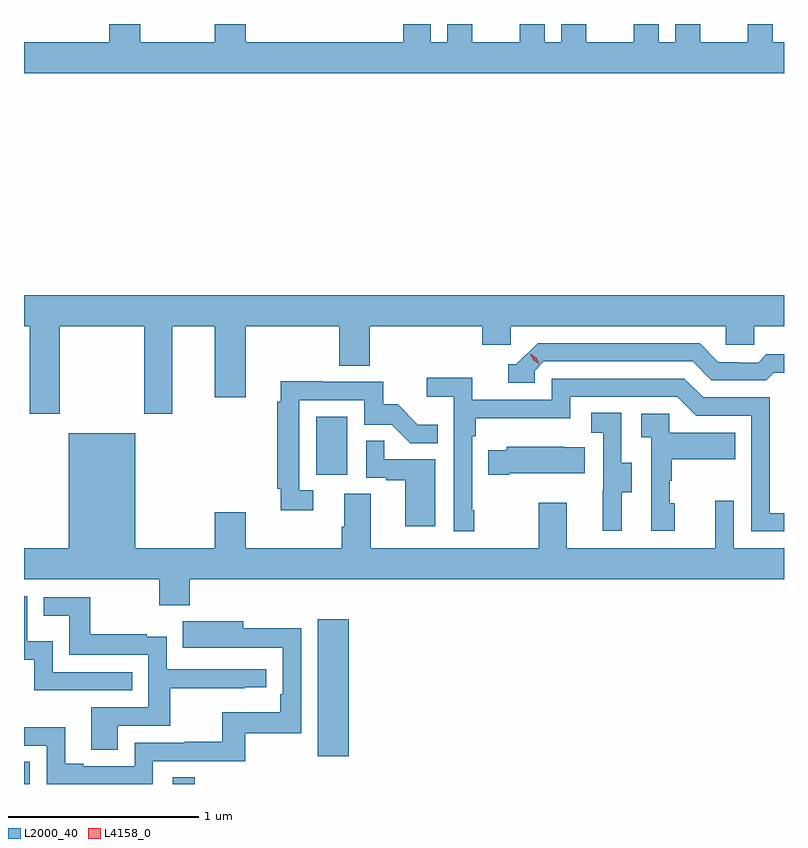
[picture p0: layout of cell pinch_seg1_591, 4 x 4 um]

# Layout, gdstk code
import gdstk
lib = gdstk.Library(unit=1e-6, precision=1e-09)
def R(c, l, rs):  # rectangles x0, y0, x1, y1
    for r in rs: c.add(gdstk.rectangle(r[:2], r[2:], *l))
def P(c, l, *ps):  # polygons
    for p in ps: c.add(gdstk.Polygon(p, *l))
L2000_40 = (2000, 40)
L4158_0 = (4158, 0)

pinch_seg1_591 = lib.new_cell('pinch_seg1_591')
R(pinch_seg1_591, L2000_40, [(1039.128,509.363,1039.159,509.48), (1039.911,509.363,1040.027,509.399), (1040.675,509.508,1040.836,510.229), (1040.666,510.99,1040.83,511.297)])
P(pinch_seg1_591, L2000_40, [(1041.956,513.363),(1041.956,513.268),(1041.868,513.268),(1041.868,513.363),(1041.737,513.363),(1041.737,513.268),(1041.487,513.268),(1041.487,513.363),(1041.356,513.363),(1041.356,513.268),(1041.268,513.268),(1041.268,513.363),(1041.125,513.363),(1041.125,513.268),(1040.296,513.268),(1040.296,513.363),(1040.132,513.363),(1040.132,513.268),(1039.741,513.268),(1039.741,513.363),(1039.577,513.363),(1039.577,513.268),(1039.128,513.268),(1039.128,513.104),(1043.128,513.104),(1043.128,513.268),(1043.068,513.268),(1043.068,513.363),(1042.937,513.363),(1042.937,513.268),(1042.687,513.268),(1042.687,513.363),(1042.556,513.363),(1042.556,513.268),(1042.468,513.268),(1042.468,513.363),(1042.337,513.363),(1042.337,513.268),(1042.087,513.268),(1042.087,513.363)],
  [(1039.317,511.772),(1039.762,511.772),(1039.762,511.311),(1039.909,511.311),(1039.909,511.772),(1040.132,511.772),(1040.132,511.398),(1040.296,511.398),(1040.296,511.772),(1040.788,511.772),(1040.788,511.564),(1040.948,511.564),(1040.948,511.772),(1041.539,511.772),(1041.539,511.674),(1041.69,511.674),(1041.69,511.772),(1042.821,511.772),(1042.821,511.674),(1042.971,511.674),(1042.971,511.772),(1043.128,511.772),(1043.128,511.936),(1039.128,511.936),(1039.128,511.772),(1039.157,511.772),(1039.157,511.311),(1039.317,511.311)],
  [(1041.816,511.539),(1041.864,511.587),(1042.647,511.587),(1042.746,511.488),(1043.035,511.488),(1043.074,511.527),(1043.128,511.527),(1043.128,511.624),(1043.035,511.624),(1042.993,511.581),(1042.89,511.581),(1042.89,511.584),(1042.783,511.584),(1042.684,511.683),(1041.831,511.683),(1041.72,511.572),(1041.677,511.572),(1041.677,511.476),(1041.816,511.476)],
  [(1041.499,510.805),(1041.486,510.805),(1041.486,511.193),(1041.506,511.193),(1041.506,511.289),(1042.002,511.289),(1042.002,511.401),(1042.566,511.401),(1042.665,511.302),(1042.956,511.302),(1042.956,510.693),(1043.128,510.693),(1043.128,510.789),(1043.052,510.789),(1043.052,511.398),(1042.702,511.398),(1042.603,511.497),(1041.906,511.497),(1041.906,511.386),(1041.488,511.386),(1041.488,511.502),(1041.249,511.502),(1041.249,511.4),(1041.39,511.4),(1041.39,510.693),(1041.499,510.693)],
  [(1040.65,510.909),(1040.577,510.909),(1040.577,511.383),(1040.919,511.383),(1040.919,511.254),(1041.063,511.254),(1041.161,511.156),(1041.305,511.156),(1041.305,511.255),(1041.201,511.255),(1041.094,511.362),(1041.018,511.362),(1041.018,511.479),(1040.699,511.479),(1040.699,511.484),(1040.48,511.484),(1040.48,511.376),(1040.461,511.376),(1040.461,510.916),(1040.48,510.916),(1040.48,510.804),(1040.65,510.804)],
  [(1042.273,510.898),(1042.327,510.898),(1042.327,511.053),(1042.272,511.053),(1042.272,511.316),(1042.113,511.316),(1042.113,511.213),(1042.176,511.213),(1042.176,510.909),(1042.175,510.909),(1042.175,510.696),(1042.273,510.696)],
  [(1042.552,510.84),(1042.527,510.84),(1042.527,510.959),(1042.537,510.959),(1042.537,511.073),(1042.871,511.073),(1042.871,511.213),(1042.524,511.213),(1042.524,511.311),(1042.377,511.311),(1042.377,511.187),(1042.428,511.187),(1042.428,510.696),(1042.552,510.696)],
  [(1040,510.44),(1043.128,510.44),(1043.128,510.604),(1042.863,510.604),(1042.863,510.853),(1042.766,510.853),(1042.766,510.604),(1041.985,510.604),(1041.985,510.844),(1041.838,510.844),(1041.838,510.604),(1040.953,510.604),(1040.953,510.89),(1040.813,510.89),(1040.813,510.716),(1040.801,510.716),(1040.801,510.604),(1040.296,510.604),(1040.296,510.793),(1040.132,510.793),(1040.132,510.604),(1039.714,510.604),(1039.714,511.21),(1039.364,511.21),(1039.364,510.604),(1039.128,510.604),(1039.128,510.44),(1039.84,510.44),(1039.84,510.305),(1040,510.305)],
  [(1041.292,511.071),(1041.023,511.071),(1041.023,511.169),(1040.928,511.169),(1040.928,510.975),(1041.035,510.975),(1041.035,510.963),(1041.134,510.963),(1041.134,510.72),(1041.292,510.72)],
  [(1041.682,510.998),(1042.079,510.998),(1042.079,511.135),(1041.971,511.135),(1041.971,511.138),(1041.669,511.138),(1041.669,511.12),(1041.571,511.12),(1041.571,510.991),(1041.682,510.991)],
  [(1039.697,509.952),(1039.278,509.952),(1039.278,510.115),(1039.146,510.115),(1039.146,510.351),(1039.128,510.351),(1039.128,510.017),(1039.182,510.017),(1039.182,509.856),(1039.697,509.856)],
  [(1039.621,509.67),(1039.898,509.67),(1039.898,509.866),(1040.291,509.866),(1040.291,509.871),(1040.404,509.871),(1040.404,509.967),(1039.878,509.967),(1039.878,510.139),(1039.775,510.139),(1039.775,510.151),(1039.477,510.151),(1039.477,510.345),(1039.231,510.345),(1039.231,510.248),(1039.366,510.248),(1039.366,510.042),(1039.782,510.042),(1039.782,509.766),(1039.481,509.766),(1039.481,509.542),(1039.621,509.542)],
  [(1039.806,509.484),(1040.293,509.484),(1040.293,509.631),(1040.586,509.631),(1040.586,510.182),(1040.281,510.182),(1040.281,510.22),(1039.963,510.22),(1039.963,510.08),(1040.177,510.08),(1040.177,510.081),(1040.49,510.081),(1040.49,509.836),(1040.477,509.836),(1040.477,509.74),(1040.172,509.74),(1040.172,509.585),(1039.975,509.585),(1039.975,509.58),(1039.71,509.58),(1039.71,509.457),(1039.441,509.457),(1039.441,509.47),(1039.345,509.47),(1039.345,509.663),(1039.14,509.663),(1039.14,509.661),(1039.128,509.661),(1039.128,509.565),(1039.248,509.565),(1039.248,509.363),(1039.806,509.363)])
P(pinch_seg1_591, L4158_0, [(1041.84,511.574),(1041.81,511.593),(1041.793,511.625),(1041.793,511.626),(1041.794,511.626),(1041.824,511.606),(1041.841,511.574),(1041.841,511.574)])

lib.write_gds('pinch_seg1_591.gds')
